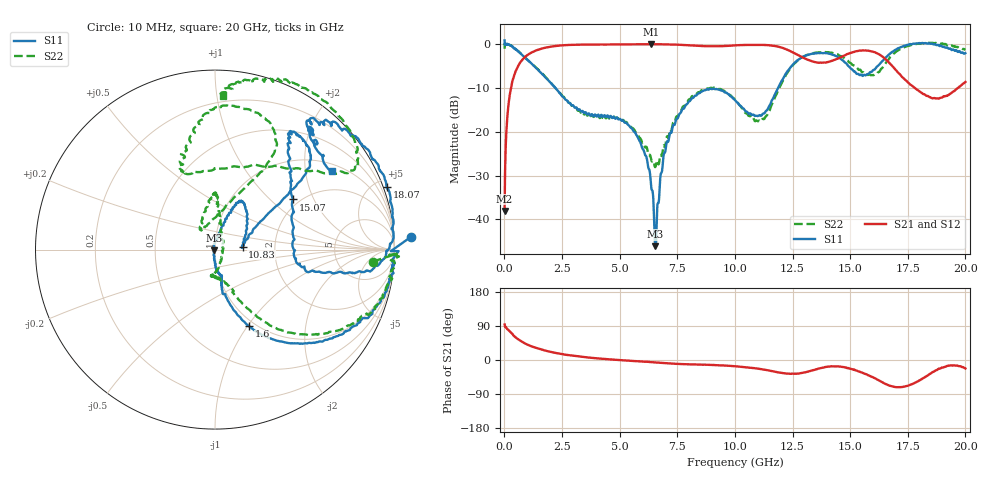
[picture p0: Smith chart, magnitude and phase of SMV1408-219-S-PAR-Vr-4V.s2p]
! Skyworks SMV1408-219 De-embedded S-Parameter Data
! Created  11-5-2013
! 2 Port Network Data
! Mounted on Board # SK41159-3 Rev 1 in Series, Cathode is connected to RF1 as Input( Pin 1) and Anode is connected RF2 as Output(Pin 2)
! Temperature = +25 °C
! RF traces and connectors are de-embedded using TRL calibration and standards
! Reference planes are package pins
! Pin 1 Input port (S-Port1), Pin 2 Output port (S-port2)
! Pin = 0 dBm, Bias: Vr = 4V
! Dev # 1
#  HZ  S  DB  R  50.00
! Rohde & Schwarz ZVA24 4Ports - Version 2.90 - 1145.1110k26 SN: 100216
! Date: 2013-11-05 15:25:02
! Measurements: S11 S21 S12 S22
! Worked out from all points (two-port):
!   2000 points, 10 MHz to 20 GHz, reference 50 ohm
!   highest |S21| = -0.06 dB at 6.38 GHz (marker M1); lowest = -38.1 dB at 10 MHz (marker M2)
!   |S21| within 3 dB of the highest: 880.4 MHz to 12.93 GHz (12.05 GHz wide, 175 % of centre); 14.57 GHz to 16.44 GHz (1.875 GHz wide, 12.1 % of centre)
!   lowest |S11| = -46.1 dB at 6.54 GHz (marker M3), VSWR 1.01, Z = 49.6 - j0.314 ohm
!   |S11| at or under -10 dB: 2.208 GHz to 11.87 GHz (9.664 GHz wide, 137 % of centre)
!   |S22| runs from -28.1 to 0.3 dB; largest |S21 - S12| = 0.019
!   S11 on the Smith chart (normalised r, x): 10 MHz: -14, +10; 1.6 GHz: 0.93, -1.01; 10.83 GHz: 1.36, +0.05; 15.07 GHz: 1.84, +1.40; 18.07 GHz: -0.31, +5.63; 20 GHz: 1.21, +2.78
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1e7  0.80 3.8  -38.09 93.9  -39.02 92.2  -1.09 -4.3
1.6e8  -0.14 -10.6  -14.79 79.6  -14.78 79.6  -0.12 -11.0
3.8e8  -0.84 -24.9  -7.98 65.2  -7.97 65.1  -0.75 -22.8
1.6e9  -6.63 -66.2  -1.08 27.7  -1.08 27.8  -6.51 -56.4
3.35e9  -15.42 -78.3  -0.15 8.5  -0.16 8.4  -15.64 -81.5
5.46e9  -18.98 -84.9  -0.10 -2.0  -0.11 -1.9  -18.69 -84.7
6.38e9  -33.09 -102.7  -0.06 -5.7  -0.08 -5.6  -26.60 -33.5
6.54e9  -46.11 -140.2  -0.06 -6.4  -0.07 -6.3  -28.09 -11.1
6.68e9  -36.24 105.0  -0.07 -7.1  -0.08 -6.8  -27.43 15.4
6.99e9  -24.25 77.6  -0.09 -8.3  -0.10 -8.2  -23.04 59.5
7.79e9  -14.72 69.3  -0.23 -11.1  -0.24 -10.9  -14.28 83.8
1.001e10  -12.86 38.0  -0.32 -16.5  -0.33 -16.4  -12.84 103.5
1.083e10  -16.22 6.1  -0.20 -21.5  -0.21 -21.3  -17.21 126.9
1.334e10  -2.22 47.9  -3.94 -27.7  -3.94 -27.3  -2.16 68.9
1.423e10  -2.46 56.4  -3.81 -16.7  -3.82 -16.3  -2.05 90.1
1.507e10  -5.74 32.8  -1.96 -24.2  -1.97 -23.8  -4.61 105.9
1.58e10  -6.84 -7.9  -1.54 -40.6  -1.55 -40.2  -6.99 105.8
1.667e10  -2.47 -9.9  -4.15 -66.5  -4.14 -66.4  -3.53 41.5
1.731e10  -0.47 -2.6  -7.80 -70.7  -7.80 -70.3  -0.80 30.8
1.807e10  0.16 20.1  -11.02 -51.7  -11.01 -51.5  0.12 46.4
1.89e10  -0.49 46.8  -12.29 -22.4  -12.29 -21.5  0.10 68.8
2e10  -2.10 34.1  -8.66 -22.4  -8.66 -21.7  -1.36 87.0
